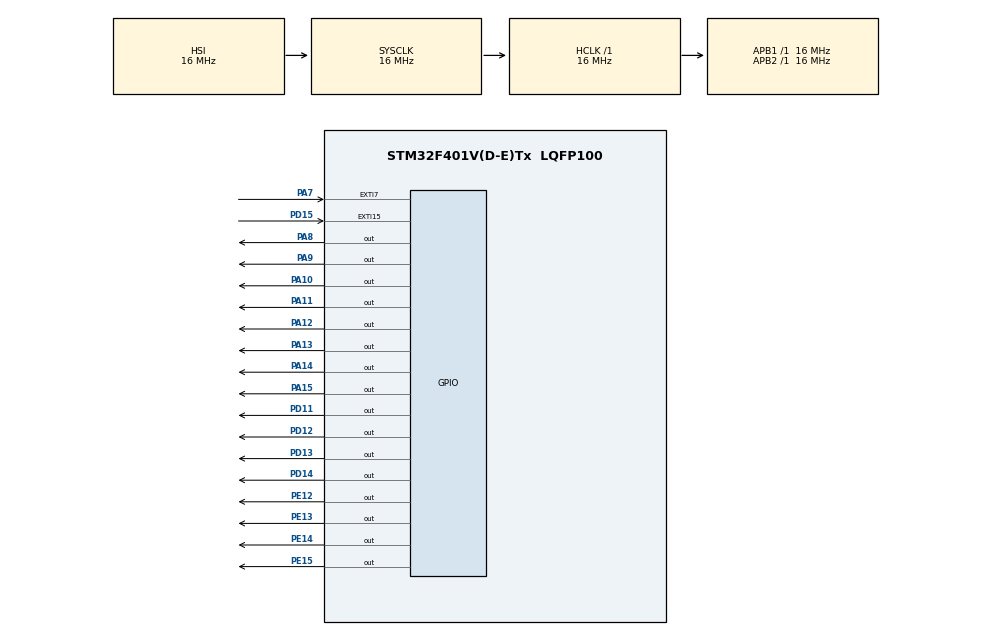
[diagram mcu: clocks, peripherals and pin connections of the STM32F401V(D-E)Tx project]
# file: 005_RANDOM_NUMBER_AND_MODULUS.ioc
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Mcu.Family=STM32F4
Mcu.Name=STM32F401V(D-E)Tx
Mcu.Package=LQFP100
NVIC.EXTI15_10_IRQn=true\:0\:0\:false\:false\:true\:true\:true\:true
NVIC.EXTI9_5_IRQn=true\:0\:0\:false\:false\:true\:true\:true\:true
NVIC.PriorityGroup=NVIC_PRIORITYGROUP_4
PA10.Signal=GPIO_Output
PA11.Signal=GPIO_Output
PA12.Signal=GPIO_Output
PA13.Signal=GPIO_Output
PA14.Signal=GPIO_Output
PA15.Signal=GPIO_Output
PA7.GPIO_ModeDefaultEXTI=GPIO_MODE_IT_FALLING
PA7.GPIO_PuPd=GPIO_PULLDOWN
PA7.Signal=GPXTI7
PA8.Signal=GPIO_Output
PA9.Signal=GPIO_Output
PD11.Signal=GPIO_Output
PD12.Signal=GPIO_Output
PD13.Signal=GPIO_Output
PD14.Signal=GPIO_Output
PD15.GPIO_ModeDefaultEXTI=GPIO_MODE_IT_FALLING
PD15.GPIO_PuPd=GPIO_PULLDOWN
PD15.Signal=GPXTI15
PE12.Signal=GPIO_Output
PE13.Signal=GPIO_Output
PE14.Signal=GPIO_Output
PE15.Signal=GPIO_Output
ProjectManager.HeapSize=0x200
ProjectManager.StackSize=0x400
ProjectManager.TargetToolchain=STM32CubeIDE
RCC.AHBFreq_Value=16000000
RCC.APB1Freq_Value=16000000
RCC.APB2Freq_Value=16000000
RCC.CortexFreq_Value=16000000
RCC.HSE_VALUE=25000000
RCC.HSI_VALUE=16000000
RCC.LSE_VALUE=32768
RCC.SYSCLKFreq_VALUE=16000000
RCC.VCOOutputFreq_Value=192000000
board=custom

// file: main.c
/* USER CODE BEGIN Header */
/**
 ******************************************************************************
 * @file           : main.c
 * @brief          : Main program body
 ******************************************************************************
 * @attention
 *
 * Copyright (c) 2023 STMicroelectronics.
 * All rights reserved.
 *
 * This software is licensed under terms that can be found in the LICENSE file
 * in the root directory of this software component.
 * If no LICENSE file comes with this software, it is provided AS-IS.
 *
 ******************************************************************************
 */
/* USER CODE END Header */
#include "main.h"

/* USER CODE BEGIN Includes */
#include "stm32f4xx.h"
/* USER CODE END Includes */

/* USER CODE BEGIN PV */
uint8_t randomNum, ones, tens, counter = 1;
/* USER CODE END PV */

void SystemClock_Config(void);
static void MX_GPIO_Init(void);
/* USER CODE BEGIN PFP */
uint32_t timeBasedRandom(void) {
	return (uwTick * 1664525 + 1013904223);
}
/* USER CODE END PFP */

int main(void) {

	/* MCU Configuration--------------------------------------------------------*/

	/* Reset of all peripherals, Initializes the Flash interface and the Systick. */
	HAL_Init();

	/* Configure the system clock */
	SystemClock_Config();

	/* USER CODE BEGIN SysInit */
//	SystemCoreClockUpdate();
//	SysTick_Config(SystemCoreClock / 1000);
	/* USER CODE END SysInit */

	/* Initialize all configured peripherals */
	MX_GPIO_Init();
	/* USER CODE BEGIN 2 */

	for (int i = 0; i < 4; i++)
		HAL_GPIO_WritePin(GPIOD, (1 << (14 - i)), (1 << i) & counter);

	randomNum = ((uint8_t) timeBasedRandom()) % 99 + 1;

	ones = ((uint8_t) randomNum) % 10;
	for (int i = 0; i < 4; i++)
		HAL_GPIO_WritePin(GPIOA, (1 << (8 + i)), (1 << i) & ones);

	tens = ((uint8_t) randomNum) / 10;
	for (int i = 0; i < 4; i++)
		HAL_GPIO_WritePin(GPIOA, (1 << (12 + i)), (1 << i) & tens);

	/* USER CODE END 2 */

	/* Infinite loop */
	while (1) {

	}
}

void SystemClock_Config(void) {
	RCC_OscInitTypeDef RCC_OscInitStruct = { 0 };
	RCC_ClkInitTypeDef RCC_ClkInitStruct = { 0 };

	/** Configure the main internal regulator output voltage
	 */
	__HAL_RCC_PWR_CLK_ENABLE();
	__HAL_PWR_VOLTAGESCALING_CONFIG(PWR_REGULATOR_VOLTAGE_SCALE2);

	/** Initializes the RCC Oscillators according to the specified parameters
	 * in the RCC_OscInitTypeDef structure.
	 */
	RCC_OscInitStruct.OscillatorType = RCC_OSCILLATORTYPE_HSI;
	RCC_OscInitStruct.HSIState = RCC_HSI_ON;
	RCC_OscInitStruct.HSICalibrationValue = RCC_HSICALIBRATION_DEFAULT;
	RCC_OscInitStruct.PLL.PLLState = RCC_PLL_NONE;
	if (HAL_RCC_OscConfig(&RCC_OscInitStruct) != HAL_OK) {
		Error_Handler();
	}

	/** Initializes the CPU, AHB and APB buses clocks
	 */
	RCC_ClkInitStruct.ClockType = RCC_CLOCKTYPE_HCLK | RCC_CLOCKTYPE_SYSCLK
			| RCC_CLOCKTYPE_PCLK1 | RCC_CLOCKTYPE_PCLK2;
	RCC_ClkInitStruct.SYSCLKSource = RCC_SYSCLKSOURCE_HSI;
	RCC_ClkInitStruct.AHBCLKDivider = RCC_SYSCLK_DIV1;
	RCC_ClkInitStruct.APB1CLKDivider = RCC_HCLK_DIV1;
	RCC_ClkInitStruct.APB2CLKDivider = RCC_HCLK_DIV1;

	if (HAL_RCC_ClockConfig(&RCC_ClkInitStruct, FLASH_LATENCY_0) != HAL_OK) {
		Error_Handler();
	}
}

static void MX_GPIO_Init(void) {
	GPIO_InitTypeDef GPIO_InitStruct = { 0 };

	/* GPIO Ports Clock Enable */
	__HAL_RCC_GPIOA_CLK_ENABLE();
	__HAL_RCC_GPIOE_CLK_ENABLE();
	__HAL_RCC_GPIOD_CLK_ENABLE();

	/*Configure GPIO pin Output Level */
	HAL_GPIO_WritePin(GPIOE,
	GPIO_PIN_12 | GPIO_PIN_13 | GPIO_PIN_14 | GPIO_PIN_15, GPIO_PIN_RESET);

	/*Configure GPIO pin Output Level */
	HAL_GPIO_WritePin(GPIOD,
	GPIO_PIN_11 | GPIO_PIN_12 | GPIO_PIN_13 | GPIO_PIN_14, GPIO_PIN_RESET);

	/*Configure GPIO pin Output Level */
	HAL_GPIO_WritePin(GPIOA,
			GPIO_PIN_8 | GPIO_PIN_9 | GPIO_PIN_10 | GPIO_PIN_11 | GPIO_PIN_12
					| GPIO_PIN_13 | GPIO_PIN_14 | GPIO_PIN_15, GPIO_PIN_RESET);

	/*Configure GPIO pin : PA7 */
	GPIO_InitStruct.Pin = GPIO_PIN_7;
	GPIO_InitStruct.Mode = GPIO_MODE_IT_FALLING;
	GPIO_InitStruct.Pull = GPIO_PULLDOWN;
	HAL_GPIO_Init(GPIOA, &GPIO_InitStruct);

	/*Configure GPIO pins : PE12 PE13 PE14 PE15 */
	GPIO_InitStruct.Pin = GPIO_PIN_12 | GPIO_PIN_13 | GPIO_PIN_14 | GPIO_PIN_15;
	GPIO_InitStruct.Mode = GPIO_MODE_OUTPUT_PP;
	GPIO_InitStruct.Pull = GPIO_NOPULL;
	GPIO_InitStruct.Speed = GPIO_SPEED_FREQ_LOW;
	HAL_GPIO_Init(GPIOE, &GPIO_InitStruct);

	/*Configure GPIO pins : PD11 PD12 PD13 PD14 */
	GPIO_InitStruct.Pin = GPIO_PIN_11 | GPIO_PIN_12 | GPIO_PIN_13 | GPIO_PIN_14;
	GPIO_InitStruct.Mode = GPIO_MODE_OUTPUT_PP;
	GPIO_InitStruct.Pull = GPIO_NOPULL;
	GPIO_InitStruct.Speed = GPIO_SPEED_FREQ_LOW;
	HAL_GPIO_Init(GPIOD, &GPIO_InitStruct);

	/*Configure GPIO pin : PD15 */
	GPIO_InitStruct.Pin = GPIO_PIN_15;
	GPIO_InitStruct.Mode = GPIO_MODE_IT_FALLING;
	GPIO_InitStruct.Pull = GPIO_PULLDOWN;
	HAL_GPIO_Init(GPIOD, &GPIO_InitStruct);

	/*Configure GPIO pins : PA8 PA9 PA10 PA11
	 PA12 PA13 PA14 PA15 */
	GPIO_InitStruct.Pin = GPIO_PIN_8 | GPIO_PIN_9 | GPIO_PIN_10 | GPIO_PIN_11
			| GPIO_PIN_12 | GPIO_PIN_13 | GPIO_PIN_14 | GPIO_PIN_15;
	GPIO_InitStruct.Mode = GPIO_MODE_OUTPUT_PP;
	GPIO_InitStruct.Pull = GPIO_NOPULL;
	GPIO_InitStruct.Speed = GPIO_SPEED_FREQ_LOW;
	HAL_GPIO_Init(GPIOA, &GPIO_InitStruct);

	/* EXTI interrupt init*/
	HAL_NVIC_SetPriority(EXTI9_5_IRQn, 0, 0);
	HAL_NVIC_EnableIRQ(EXTI9_5_IRQn);

	HAL_NVIC_SetPriority(EXTI15_10_IRQn, 0, 0);
	HAL_NVIC_EnableIRQ(EXTI15_10_IRQn);

	/* USER CODE BEGIN MX_GPIO_Init_2 */
//	__HAL_RCC_SYSCFG_CLK_ENABLE();
//
//	NVIC_SetPriority(EXTI0_IRQn, 1);
//	NVIC_EnableIRQ(EXTI0_IRQn);
//
//	SYSCFG->EXTICR[3] |= SYSCFG_EXTICR4_EXTI13_PD;
//
//	EXTI->IMR |= EXTI_IMR_IM13;
//	EXTI->FTSR |= EXTI_FTSR_TR13;
	/* USER CODE END MX_GPIO_Init_2 */
}

/* USER CODE BEGIN 4 */
void HAL_GPIO_EXTI_Callback(uint16_t GPIO_Pin) {
	if (GPIO_Pin == GPIO_PIN_15) {

		counter = counter % 9 + 1;

		for (int i = 0; i < 4; i++)
			HAL_GPIO_WritePin(GPIOD, (1 << (14 - i)), (1 << i) & counter);

	} else if (GPIO_Pin == GPIO_PIN_7) {

		randomNum = ((uint8_t) timeBasedRandom()) % 99 + 1;

		ones = ((uint8_t) randomNum) % 10;
		for (int i = 0; i < 4; i++)
			HAL_GPIO_WritePin(GPIOA, (1 << (8 + i)), (1 << i) & ones);

		tens = ((uint8_t) randomNum) / 10;
		for (int i = 0; i < 4; i++)
			HAL_GPIO_WritePin(GPIOA, (1 << (12 + i)), (1 << i) & tens);

	}

	uint8_t modulus = randomNum % counter;

	for (int i = 0; i < 4; i++)
		HAL_GPIO_WritePin(GPIOE, (1 << (15 - i)), (1 << i) & modulus);

}

/* USER CODE END 4 */

void Error_Handler(void) {
	__disable_irq();
	while (1) {
	}
}
